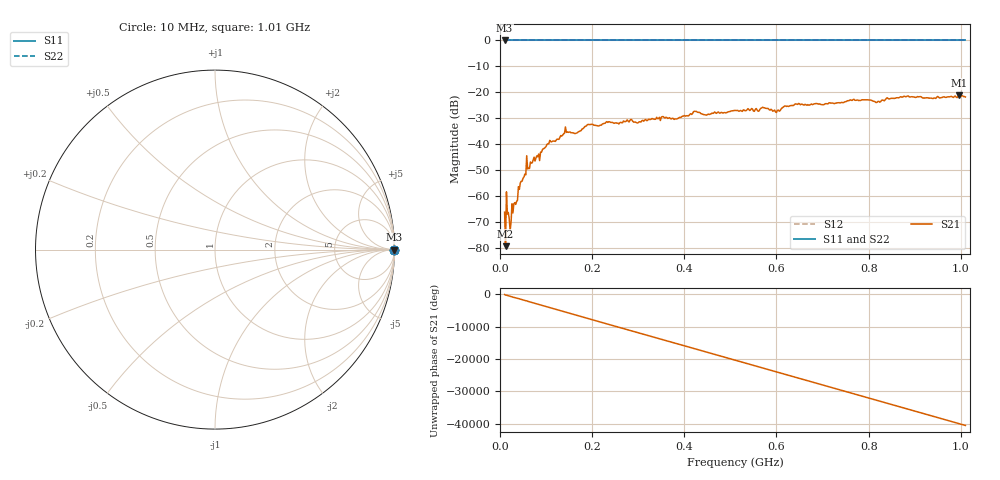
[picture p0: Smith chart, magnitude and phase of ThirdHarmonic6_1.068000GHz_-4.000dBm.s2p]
! 8/16/2025 9:38:53 AM
! C:\ANRITSUVNA\TEMP\TEMP.S2P
! CHANNEL.1
! TR.MEASUREMENT
! RAW.DATA
! RF.CORRECTION.OFF
! AVERAGING.OFF
! IF.BANDWIDTH: 5KHZ
! SWEEPTYPE:  FREQ.SWEEP(Linear)
! Reference Plane Port Info
! PORT:  PORT1  PORT2
! DISTANCE:  0  m  0  m
! TIME:  0  s  0  s
! PHASE.OFFSET:  0  deg.  0  deg.
! LOSS:  0  dB  0  dB
! REF.LOSS:  0  dB  0  dB
! REF.FREQ:  0  Hz  0  Hz
! Power Info
! POWER:  -20  dBm  -20  dBm
! EFF.POWER:  -20  dBm  -20  dBm
! SOURCE.ATTEN:  0  dB  0  dB
! TEST.ATTEN:  0  dB  0  dB
# GHZ S RI R 50.0
! FREQ.GHZ  S11RE  S11IM  S21RE  S21IM  S12RE  S12IM  S22RE  S22IM
!; PortSelection: Port_12
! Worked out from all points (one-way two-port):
!   501 points, 10 MHz to 1.01 GHz, reference 50 ohm
!   highest |S21| = -21.12 dB at 996 MHz (marker M1); lowest = -79.2 dB at 12 MHz (marker M2)
!   lowest |S11| = 0.0 dB at 10 MHz (marker M3)
!   |S11| at or under -10 dB: nowhere
!   |S22| runs from 0.0 to 0.0 dB; largest |S21 - S12| = 1.1
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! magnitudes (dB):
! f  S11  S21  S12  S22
! 10 MHz  0.0  -66.1  0.0  0.0
! 12 MHz  0.0  -79.2  0.0  0.0
! 18 MHz  0.0  -66.2  0.0  0.0
! 24 MHz  0.0  -70.1  0.0  0.0
! 44 MHz  0.0  -54.9  0.0  0.0
! 62 MHz  0.0  -49.2  0.0  0.0
! 106 MHz  0.0  -39.7  0.0  0.0
! 142 MHz  0.0  -33.3  0.0  0.0
! 178 MHz  0.0  -34.1  0.0  0.0
! 194 MHz  0.0  -32.4  0.0  0.0
! 344 MHz  0.0  -30.1  0.0  0.0
! 382 MHz  0.0  -30.2  0.0  0.0
! 424 MHz  0.0  -27.3  0.0  0.0
! 446 MHz  0.0  -28.7  0.0  0.0
! 510 MHz  0.0  -26.9  0.0  0.0
! 572 MHz  0.0  -25.9  0.0  0.0
! 602 MHz  0.0  -26.9  0.0  0.0
! 644 MHz  0.0  -24.5  0.0  0.0
! 678 MHz  0.0  -24.7  0.0  0.0
! 844 MHz  0.0  -22.5  0.0  0.0
! 996 MHz  0.0  -21.1  0.0  0.0
! 1.01 GHz  0.0  -21.8  0.0  0.0
